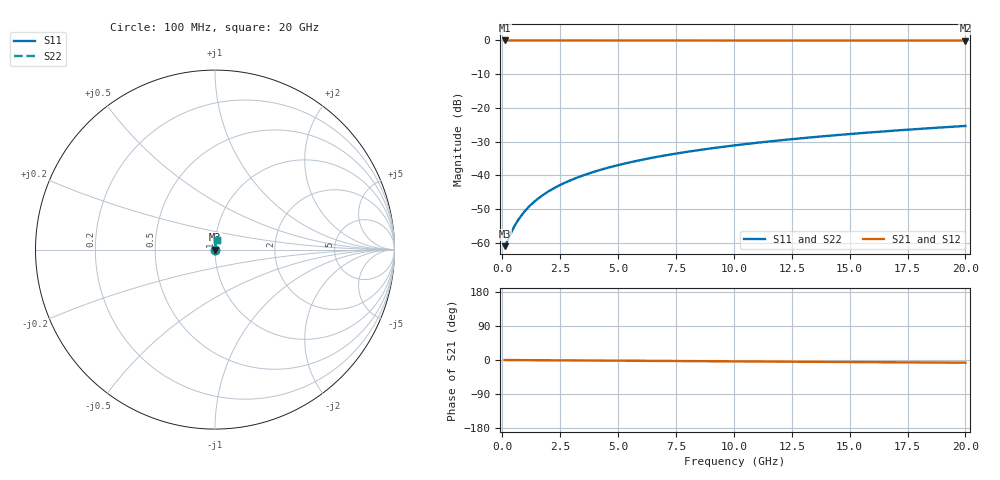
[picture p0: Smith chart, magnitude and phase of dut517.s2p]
! Touchstone file exported from HFSS 2026.1.0
!  File:  C:/ffzhzh/LocalFiles/Ansys_Project_Files/temp_train_TSV_517_1783023422_46388.aedt
!  Generated:  04:19:23 AM Jul  3, 2026
!  Design:  TSV
!  Project:  temp_train_TSV_517_1783023422_46388
! Variables:
!  h_bsmrdl = 2um
!  h_ox = 20um
!  h_rdl = 5um
!  h_sub = 65.01um
!  h_tmrdl = 5um
!  h_tsv = 65.01um
!  h_via = 3um
!  l_bsmrdl = 300um
!  l_sub = 406.04um
!  l_tmrdl = 200um
!  m_sub = 200um
!  pitch = 24.92um
!  r_tsv = 3.02um
!  s_tmrdl = 10um
!  w_bsmrdl = 18um
!  w_sub = 500um
!  w_tmrdl = 12um
!  x_tsv_center1 = 206um
!  x_tsv_center2 = 524um
!  x_tsv_center3 = 736um
!  x_tsv_center4 = 1054um
!  x_tsv_center5 = 1266um
!  x_tsv_center6 = 1584um
# GHz S MA R 50.000000
! Terminal data exported
! Port[1] = TSV1_1_T1
! Port[2] = TSV1_1_T2
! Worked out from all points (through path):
!   200 points, 100 MHz to 20 GHz, reference 50 ohm
!   highest |S21| = -0.01 dB at 100 MHz (marker M1); lowest = 0.0 dB at 20 GHz (marker M2)
!   lowest |S11| = -60.9 dB at 100 MHz (marker M3), VSWR 1.00, Z = 50.1 + j0.0301 ohm
!   |S11| at or under -10 dB: start of sweep to end of sweep
!   |S22| runs from -60.9 to -25.3 dB; largest |S21 - S12| = 2.2e-15
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0.1  0.0008976 19.5  0.9992 -0.0  0.9992 -0.0  0.0008976 19.5
! Gamma 0 0 0 0
! Port Impedance 50 0 50 0
0.2  0.001042 34.9  0.9991 -0.1  0.9991 -0.1  0.001042 34.9
0.4  0.001468 53.3  0.9991 -0.1  0.9991 -0.1  0.001468 53.3
0.5  0.001712 58.8  0.9991 -0.2  0.9991 -0.2  0.001712 58.8
0.7  0.002226 66.0  0.9991 -0.3  0.9991 -0.3  0.002226 66.0
0.8  0.002491 68.5  0.9991 -0.3  0.9991 -0.3  0.002491 68.5
1  0.003033 72.1  0.9991 -0.4  0.9991 -0.4  0.003033 72.1
1.3  0.00386 75.6  0.9991 -0.5  0.9991 -0.5  0.00386 75.6
1.7  0.004978 78.3  0.999 -0.6  0.999 -0.6  0.004978 78.3
2.2  0.006385 80.3  0.999 -0.8  0.999 -0.8  0.006385 80.3
2.8  0.008076 81.6  0.9989 -1.0  0.9989 -1.0  0.008076 81.6
3.5  0.01005 82.4  0.9988 -1.3  0.9988 -1.3  0.01005 82.4
4.2  0.01201 82.8  0.9987 -1.5  0.9987 -1.5  0.01201 82.8
5  0.01424 83.0  0.9986 -1.8  0.9986 -1.8  0.01424 83.0
5.9  0.01672 83.1  0.9985 -2.1  0.9985 -2.1  0.01672 83.1
6.8  0.01919 83.0  0.9983 -2.5  0.9983 -2.5  0.01919 83.0
8.3  0.02327 82.8  0.998 -3.0  0.998 -3.0  0.02327 82.8
10.1  0.0281 82.4  0.9977 -3.6  0.9977 -3.6  0.0281 82.4
11.7  0.03237 82.1  0.9974 -4.2  0.9974 -4.2  0.03237 82.1
13.4  0.03687 81.7  0.997 -4.8  0.997 -4.8  0.03687 81.7
16.7  0.04555 80.8  0.9964 -5.9  0.9964 -5.9  0.04555 80.8
20  0.05417 79.9  0.9957 -7.1  0.9957 -7.1  0.05417 79.9
